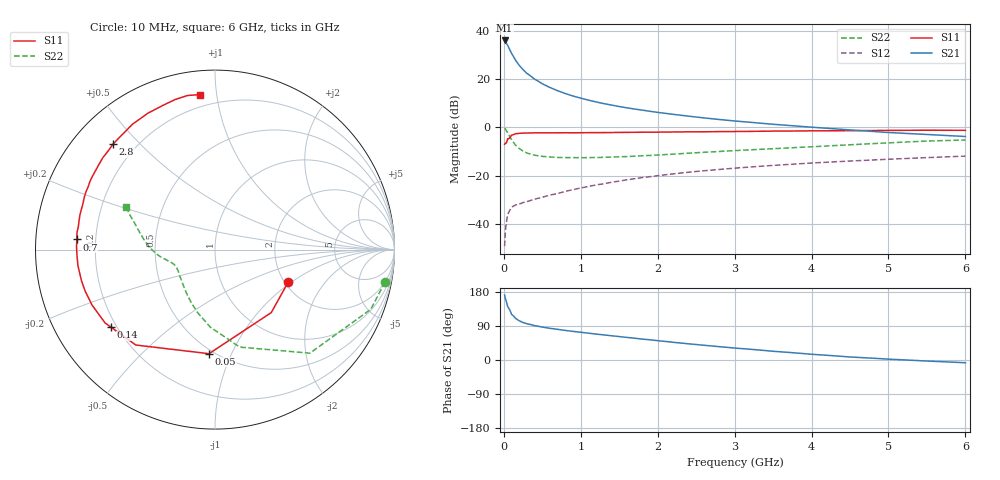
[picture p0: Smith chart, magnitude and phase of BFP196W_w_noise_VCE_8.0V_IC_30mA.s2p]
! (c) 2017  Infineon Technologies AG, Munich
! Infineon Technologies  Discrete & RF Semiconductors
! BFP196W
! VCE =  8.0 V,  IC =  30 mA
! Common Emitter S-Parameters:  Jan 2017
# GHz  S  MA  R  50
!  f  S11  S21  S12  S22
! GHz  MAG  ANG  MAG  ANG  MAG  ANG  MAG  ANG
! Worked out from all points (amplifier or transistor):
!   77 points, 10 MHz to 6 GHz, reference 50 ohm
!   highest |S21| = 35.9 dB at 10 MHz (marker M1)
!   |S21| within 3 dB of that: start of sweep to 65.15 MHz
!   unconditionally stable (mu >= 1): 868.3 MHz to 3.203 GHz
!   at 130 MHz: K = 0.30, MSG = 30.7 dB, |S12| = -32.5 dB
!   at 2.2 GHz: K = 1.05, MAG = 11.0 dB, |S12| = -19.2 dB
!   at 6 GHz: K = 0.92, MSG = 4.1 dB, |S12| = -11.9 dB
!   lowest NFmin = 1.13 dB at 450 MHz
!   S11 on the Smith chart (normalised r, x): 10 MHz: 2.09, -0.94; 50 MHz: 0.47, -0.83; 140 MHz: 0.18, -0.32; 700 MHz: 0.13, +0.04; 2.8 GHz: 0.12, +0.42; 6 GHz: 0.13, +0.90
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0.01  0.4463 -23.9  62.51 171.5  0.0035 76.8  0.9649 -10.8
0.02  0.4705 -48.2  60.37 162.2  0.0072 78.3  0.9293 -21.0
0.05  0.5809 -93.3  49.52 141.1  0.0158 57.5  0.7826 -47.5
0.1  0.6909 -129.7  33.85 120.6  0.0223 42.7  0.5608 -75.7
0.14  0.7225 -143.2  26.42 112.9  0.0243 38.9  0.4542 -89.2
0.15  0.7362 -146.3  24.67 110.2  0.0248 38.0  0.4327 -93.5
0.2  0.7516 -155.8  19.12 103.5  0.0259 36.9  0.3645 -105.4
0.25  0.7596 -162.3  15.54 98.9  0.0279 38.0  0.3218 -114.6
0.3  0.7638 -166.9  13.05 95.7  0.0292 38.6  0.2953 -121.6
0.4  0.7689 -173.3  9.921 90.6  0.0327 42.2  0.2655 -131.9
0.5  0.7696 -177.6  7.957 86.8  0.0359 46.0  0.2511 -139.0
0.6  0.7717 178.8  6.658 83.6  0.0398 47.7  0.2442 -144.1
0.7  0.7718 175.8  5.706 80.9  0.0429 50.4  0.2387 -147.8
0.9  0.7721 170.4  4.439 75.5  0.0517 53.7  0.2367 -152.7
1.1  0.7769 165.8  3.652 70.8  0.0599 55.8  0.2367 -156.1
1.5  0.7855 157.6  2.693 61.8  0.0775 57.2  0.2464 -161.3
2.1  0.7986 146.0  1.948 49.0  0.1047 55.5  0.2737 -167.5
2.8  0.8173 134.0  1.453 35.2  0.1349 51.4  0.3173 -174.2
3.1  0.8226 129.3  1.314 30.0  0.1472 49.1  0.3366 -177.4
4.1  0.8476 114.9  0.982 13.8  0.1865 41.9  0.4042 171.2
5.1  0.8659 104.0  0.768 1.3  0.2226 34.3  0.4866 160.2
6  0.8678 95.5  0.647 -7.3  0.2543 27.3  0.5486 154.1
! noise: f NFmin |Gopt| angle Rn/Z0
0.45  1.13  0.45  178  0.05
0.9  1.29  0.52  -176  0.06
1.9  2.14  0.68  -151  0.13
2.4  2.54  0.73  -146  0.22
